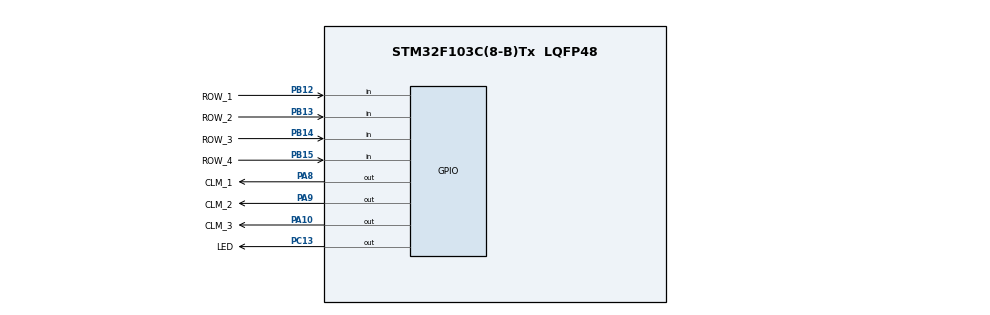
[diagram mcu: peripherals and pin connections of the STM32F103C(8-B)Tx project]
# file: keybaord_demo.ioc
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FREERTOS.Tasks01=keyboardTask,0,128,StartKeyboardTask,Default,NULL,Dynamic,NULL,NULL;ledTask,-3,128,StartLedTask,Default,NULL,Dynamic,NULL,NULL
Mcu.Family=STM32F1
Mcu.Name=STM32F103C(8-B)Tx
Mcu.Package=LQFP48
NVIC.PriorityGroup=NVIC_PRIORITYGROUP_4
NVIC.TIM1_UP_IRQn=true\:0\:0\:false\:false\:true\:false\:false
NVIC.TimeBase=TIM1_UP_IRQn
NVIC.TimeBaseIP=TIM1
PA10.GPIO_Label=CLM_3
PA10.Signal=GPIO_Output
PA8.GPIO_Label=CLM_1
PA8.Signal=GPIO_Output
PA9.GPIO_Label=CLM_2
PA9.Signal=GPIO_Output
PB12.GPIO_Label=ROW_1
PB12.Signal=GPIO_Input
PB13.GPIO_Label=ROW_2
PB13.Signal=GPIO_Input
PB14.GPIO_Label=ROW_3
PB14.Signal=GPIO_Input
PB15.GPIO_Label=ROW_4
PB15.Signal=GPIO_Input
PC13-TAMPER-RTC.GPIO_Label=LED
PC13-TAMPER-RTC.Signal=GPIO_Output
ProjectManager.HeapSize=0x200
ProjectManager.StackSize=0x400
ProjectManager.TargetToolchain=SW4STM32
RCC.AHBCLKDivider=RCC_SYSCLK_DIV8
RCC.AHBFreq_Value=1000000
RCC.APB1Freq_Value=1000000
RCC.APB1TimFreq_Value=1000000
RCC.APB2Freq_Value=1000000
RCC.APB2TimFreq_Value=1000000
RCC.HCLKFreq_Value=1000000
VP_FREERTOS_VS_ENABLE.Mode=Enabled
VP_SYS_VS_ND.Mode=No_Debug
VP_SYS_VS_tim1.Mode=TIM1
board=keybaord_demo

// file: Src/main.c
/**
  ******************************************************************************
  * @file           : main.c
  * @brief          : Main program body
  ******************************************************************************
  * This notice applies to any and all portions of this file
  * that are not between comment pairs USER CODE BEGIN and
  * USER CODE END. Other portions of this file, whether
  * inserted by the user or by software development tools
  * are owned by their respective copyright owners.
  *
  * Copyright (c) 2018 STMicroelectronics International N.V.
  * All rights reserved.
  *
  * Redistribution and use in source and binary forms, with or without
  * modification, are permitted, provided that the following conditions are met:
  *
  * 1. Redistribution of source code must retain the above copyright notice,
  *    this list of conditions and the following disclaimer.
  * 2. Redistributions in binary form must reproduce the above copyright notice,
  *    this list of conditions and the following disclaimer in the documentation
  *    and/or other materials provided with the distribution.
  * 3. Neither the name of STMicroelectronics nor the names of other
  *    contributors to this software may be used to endorse or promote products
  *    derived from this software without specific written permission.
  * 4. This software, including modifications and/or derivative works of this
  *    software, must execute solely and exclusively on microcontroller or
  *    microprocessor devices manufactured by or for STMicroelectronics.
  * 5. Redistribution and use of this software other than as permitted under
  *    this license is void and will automatically terminate your rights under
  *    this license.
  *
  * THIS SOFTWARE IS PROVIDED BY STMICROELECTRONICS AND CONTRIBUTORS "AS IS"
  * AND ANY EXPRESS, IMPLIED OR STATUTORY WARRANTIES, INCLUDING, BUT NOT
  * LIMITED TO, THE IMPLIED WARRANTIES OF MERCHANTABILITY, FITNESS FOR A
  * PARTICULAR PURPOSE AND NON-INFRINGEMENT OF THIRD PARTY INTELLECTUAL PROPERTY
  * RIGHTS ARE DISCLAIMED TO THE FULLEST EXTENT PERMITTED BY LAW. IN NO EVENT
  * SHALL STMICROELECTRONICS OR CONTRIBUTORS BE LIABLE FOR ANY DIRECT, INDIRECT,
  * INCIDENTAL, SPECIAL, EXEMPLARY, OR CONSEQUENTIAL DAMAGES (INCLUDING, BUT NOT
  * LIMITED TO, PROCUREMENT OF SUBSTITUTE GOODS OR SERVICES; LOSS OF USE, DATA,
  * OR PROFITS; OR BUSINESS INTERRUPTION) HOWEVER CAUSED AND ON ANY THEORY OF
  * LIABILITY, WHETHER IN CONTRACT, STRICT LIABILITY, OR TORT (INCLUDING
  * NEGLIGENCE OR OTHERWISE) ARISING IN ANY WAY OUT OF THE USE OF THIS SOFTWARE,
  * EVEN IF ADVISED OF THE POSSIBILITY OF SUCH DAMAGE.
  *
  ******************************************************************************
  */
#include "main.h"
#include "stm32f1xx_hal.h"
#include "cmsis_os.h"
#include "gpio.h"

/* USER CODE BEGIN PV */
/* Private variables ---------------------------------------------------------*/

/* USER CODE END PV */

void SystemClock_Config(void);
void MX_FREERTOS_Init(void);

extern void initialise_monitor_handles(void);
/* USER CODE BEGIN PFP */
/* Private function prototypes -----------------------------------------------*/

/* USER CODE END PFP */

int main(void)
{
  /* USER CODE BEGIN 1 */
	initialise_monitor_handles();
	printf("Started\n");
  /* USER CODE END 1 */

  /* MCU Configuration----------------------------------------------------------*/

  /* Reset of all peripherals, Initializes the Flash interface and the Systick. */
  HAL_Init();

  /* Configure the system clock */
  SystemClock_Config();

  /* Initialize all configured peripherals */
  MX_GPIO_Init();

  /* Call init function for freertos objects (in freertos.c) */
  MX_FREERTOS_Init();
  printf("FreeRTOS ready\n");

  /* Start scheduler */
  osKernelStart();

  /* We should never get here as control is now taken by the scheduler */

  /* Infinite loop */
  while (1)
  {

  }

}

void SystemClock_Config(void)
{

  RCC_OscInitTypeDef RCC_OscInitStruct;
  RCC_ClkInitTypeDef RCC_ClkInitStruct;

    /**Initializes the CPU, AHB and APB busses clocks
    */
  RCC_OscInitStruct.OscillatorType = RCC_OSCILLATORTYPE_HSI;
  RCC_OscInitStruct.HSIState = RCC_HSI_ON;
  RCC_OscInitStruct.HSICalibrationValue = 16;
  RCC_OscInitStruct.PLL.PLLState = RCC_PLL_NONE;
  if (HAL_RCC_OscConfig(&RCC_OscInitStruct) != HAL_OK)
  {
    _Error_Handler(__FILE__, __LINE__);
  }

    /**Initializes the CPU, AHB and APB busses clocks
    */
  RCC_ClkInitStruct.ClockType = RCC_CLOCKTYPE_HCLK|RCC_CLOCKTYPE_SYSCLK
                              |RCC_CLOCKTYPE_PCLK1|RCC_CLOCKTYPE_PCLK2;
  RCC_ClkInitStruct.SYSCLKSource = RCC_SYSCLKSOURCE_HSI;
  RCC_ClkInitStruct.AHBCLKDivider = RCC_SYSCLK_DIV1;
  RCC_ClkInitStruct.APB1CLKDivider = RCC_HCLK_DIV1;
  RCC_ClkInitStruct.APB2CLKDivider = RCC_HCLK_DIV1;

  if (HAL_RCC_ClockConfig(&RCC_ClkInitStruct, FLASH_LATENCY_0) != HAL_OK)
  {
    _Error_Handler(__FILE__, __LINE__);
  }

    /**Configure the Systick interrupt time
    */
  HAL_SYSTICK_Config(HAL_RCC_GetHCLKFreq()/1000);

    /**Configure the Systick
    */
  HAL_SYSTICK_CLKSourceConfig(SYSTICK_CLKSOURCE_HCLK);

  /* SysTick_IRQn interrupt configuration */
  HAL_NVIC_SetPriority(SysTick_IRQn, 15, 0);
}

void HAL_TIM_PeriodElapsedCallback(TIM_HandleTypeDef *htim)
{
  if (htim->Instance == TIM1) {
    HAL_IncTick();
  }
}

void _Error_Handler(char *file, int line)
{
  while(1)
  {
  }
}

/************************ (C) COPYRIGHT STMicroelectronics *****END OF FILE****/

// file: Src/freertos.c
/**
 ******************************************************************************
 * File Name          : freertos.c
 * Description        : Code for freertos applications
 ******************************************************************************
 * This notice applies to any and all portions of this file
 * that are not between comment pairs USER CODE BEGIN and
 * USER CODE END. Other portions of this file, whether
 * inserted by the user or by software development tools
 * are owned by their respective copyright owners.
 *
 * Copyright (c) 2018 STMicroelectronics International N.V.
 * All rights reserved.
 *
 * Redistribution and use in source and binary forms, with or without
 * modification, are permitted, provided that the following conditions are met:
 *
 * 1. Redistribution of source code must retain the above copyright notice,
 *    this list of conditions and the following disclaimer.
 * 2. Redistributions in binary form must reproduce the above copyright notice,
 *    this list of conditions and the following disclaimer in the documentation
 *    and/or other materials provided with the distribution.
 * 3. Neither the name of STMicroelectronics nor the names of other
 *    contributors to this software may be used to endorse or promote products
 *    derived from this software without specific written permission.
 * 4. This software, including modifications and/or derivative works of this
 *    software, must execute solely and exclusively on microcontroller or
 *    microprocessor devices manufactured by or for STMicroelectronics.
 * 5. Redistribution and use of this software other than as permitted under
 *    this license is void and will automatically terminate your rights under
 *    this license.
 *
 * THIS SOFTWARE IS PROVIDED BY STMICROELECTRONICS AND CONTRIBUTORS "AS IS"
 * AND ANY EXPRESS, IMPLIED OR STATUTORY WARRANTIES, INCLUDING, BUT NOT
 * LIMITED TO, THE IMPLIED WARRANTIES OF MERCHANTABILITY, FITNESS FOR A
 * PARTICULAR PURPOSE AND NON-INFRINGEMENT OF THIRD PARTY INTELLECTUAL PROPERTY
 * RIGHTS ARE DISCLAIMED TO THE FULLEST EXTENT PERMITTED BY LAW. IN NO EVENT
 * SHALL STMICROELECTRONICS OR CONTRIBUTORS BE LIABLE FOR ANY DIRECT, INDIRECT,
 * INCIDENTAL, SPECIAL, EXEMPLARY, OR CONSEQUENTIAL DAMAGES (INCLUDING, BUT NOT
 * LIMITED TO, PROCUREMENT OF SUBSTITUTE GOODS OR SERVICES; LOSS OF USE, DATA,
 * OR PROFITS; OR BUSINESS INTERRUPTION) HOWEVER CAUSED AND ON ANY THEORY OF
 * LIABILITY, WHETHER IN CONTRACT, STRICT LIABILITY, OR TORT (INCLUDING
 * NEGLIGENCE OR OTHERWISE) ARISING IN ANY WAY OUT OF THE USE OF THIS SOFTWARE,
 * EVEN IF ADVISED OF THE POSSIBILITY OF SUCH DAMAGE.
 *
 ******************************************************************************
 */

#include "FreeRTOS.h"
#include "task.h"
#include "cmsis_os.h"

/* USER CODE BEGIN Includes */
#include "keyboard.h"
#include "led.h"
#include "responder.h"
/* USER CODE END Includes */

osThreadId keyboardTaskHandle;
osThreadId ledTaskHandle;

/*
 * Polls a keypad and ouptuts keys pressed
 * */
void StartKeyboardTask(void const * argument);

/*
 * Indicates that we are on (diode blink)
 * */
void StartLedTask(void const * argument);

void MX_FREERTOS_Init(void); /* (MISRA C 2004 rule 8.1) */

/* Hook prototypes */

/* Init FreeRTOS */

void MX_FREERTOS_Init(void) {

	/* Create the timer(s) */
	/* definition and creation of keyHoldedTimer */

	/* Create the thread(s) */
	/* definition and creation of keyboardTask */
	osThreadDef(keyboardTask, StartKeyboardTask, osPriorityNormal, 0, 256);
	keyboardTaskHandle = osThreadCreate(osThread(keyboardTask), NULL);

	/* definition and creation of ledTask */
	osThreadDef(ledTask, StartLedTask, osPriorityIdle, 0, 128);
	ledTaskHandle = osThreadCreate(osThread(ledTask), NULL);

	/* Create the queue(s) */

}

/* StartKeyboardTask function */
void StartKeyboardTask(void const * argument) {

	/* USER CODE BEGIN StartKeyboardTask */
	char kb_string[KEYBOARD_MAX_MULTITOUCH];
	char prev_string[KEYBOARD_MAX_MULTITOUCH];
	static KEYS_PRESSED keys = { 0, 0, 0, 0 };
	uint32_t tick;
	/* Infinite loop */
	for (;;) {

		strcpy(prev_string, kb_string);
		KeyboardPoll(kb_string);

		//if we have non-empty string during debounce time
		if (0 != strcmp("", kb_string)) {
			//we`ve detected pressing!
			tick = HAL_GetTick();
			do {
				//now wait for release
				osDelay(KEYBOARD_BOUNCE_TIME / 2);
				strcpy(prev_string, kb_string);
				KeyboardPoll(kb_string);
			} while (0 == strcmp(kb_string, prev_string));
			//YEAH YEAH. IF WE WILL HOLD A BUTTON EXACTLY maxuint32_t/1000 seconds we`ll make a mistake...
			//This device is not supposed to be working more than a hour
			tick = HAL_GetTick() - tick;
			if (tick > KEYBOARD_BOUNCE_TIME) {
				keys.key_1 = (char) prev_string[0];
				keys.key_2 = (char) prev_string[1];
				if (tick > KEYBOARD_LONG_PRESSED_CRITERION) {
					keys.presstype = LONG_PRESSED;
				} else {
					keys.presstype = SHORT_PRESSED;
				}
			}

			LedOn();
			if (keys.presstype == SHORT_PRESSED) {

				if (0 == keys.key_2) {
					single_key_pressed(keys.key_1);
				} else {
					double_key_pressed(keys.key_1, keys.key_2);
				}
			}

			else {
				if (0 == keys.key_2) {
					single_key_long_pressed(keys.key_1);
				} else {
					double_key_long_pressed(keys.key_1, keys.key_2);
				}
			}
		}
//now analyse what we have;y

//printf(strcat(kb_string, "\n"));
		osDelay(KEYBOARD_BOUNCE_TIME);

	}
	/* USER CODE END StartKeyboardTask */
}

/* StartLedTask function */
void StartLedTask(void const * argument) {
	/* USER CODE BEGIN StartLedTask */
	/* Infinite loop */
	for (;;) {
		LedOn();
		osDelay(100);
		LedOff();
		osDelay(900);
	}
	/* USER CODE END StartLedTask */
}

/* KeyHoldedTimerCallback function */

/************************ (C) COPYRIGHT STMicroelectronics *****END OF FILE****/
